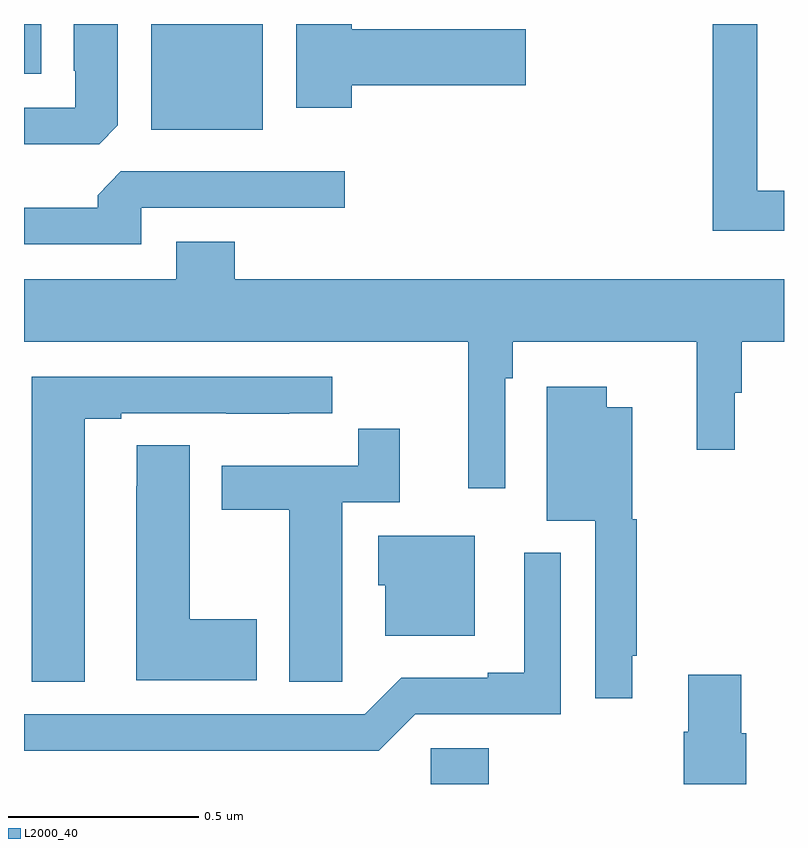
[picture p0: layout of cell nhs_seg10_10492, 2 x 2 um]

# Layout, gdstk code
import gdstk
lib = gdstk.Library(unit=1e-6, precision=1e-09)
def R(c, l, rs):  # rectangles x0, y0, x1, y1
    for r in rs: c.add(gdstk.rectangle(r[:2], r[2:], *l))
def P(c, l, *ps):  # polygons
    for p in ps: c.add(gdstk.Polygon(p, *l))
L2000_40 = (2000, 40)

nhs_seg10_10492 = lib.new_cell('nhs_seg10_10492')
R(nhs_seg10_10492, L2000_40, [(244.071,1284.5,244.223,1284.594), (243.335,1286.222,243.628,1286.5), (243,1286.369,243.046,1286.5)])
P(nhs_seg10_10492, L2000_40, [(243.247,1286.233),(243.247,1286.5),(243.131,1286.5),(243.131,1286.377),(243.135,1286.377),(243.135,1286.28),(243,1286.28),(243,1286.184),(243.198,1286.184)],
  [(245,1286.061),(244.929,1286.061),(244.929,1286.5),(244.813,1286.5),(244.813,1285.956),(245,1285.956)],
  [(243.863,1286.339),(244.321,1286.339),(244.321,1286.486),(243.863,1286.486),(243.863,1286.5),(243.716,1286.5),(243.716,1286.28),(243.863,1286.28)],
  [(243.309,1286.016),(243.844,1286.016),(243.844,1286.112),(243.255,1286.112),(243.194,1286.05),(243.194,1286.016),(243,1286.016),(243,1285.92),(243.309,1285.92)],
  [(244.266,1285.568),(244.286,1285.568),(244.286,1285.664),(244.771,1285.664),(244.771,1285.38),(244.87,1285.38),(244.87,1285.53),(244.889,1285.53),(244.889,1285.664),(245,1285.664),(245,1285.828),(243.554,1285.828),(243.554,1285.927),(243.401,1285.927),(243.401,1285.828),(243,1285.828),(243,1285.664),(244.169,1285.664),(244.169,1285.278),(244.266,1285.278)],
  [(243.16,1285.461),(243.256,1285.461),(243.256,1285.476),(243.532,1285.476),(243.532,1285.475),(243.698,1285.475),(243.698,1285.476),(243.811,1285.476),(243.811,1285.572),(243.02,1285.572),(243.02,1284.769),(243.16,1284.769)],
  [(244.6,1284.838),(244.612,1284.838),(244.612,1285.197),(244.6,1285.197),(244.6,1285.492),(244.534,1285.492),(244.534,1285.546),(244.376,1285.546),(244.376,1285.193),(244.503,1285.193),(244.503,1284.726),(244.6,1284.726)],
  [(243.837,1284.88),(243.838,1284.88),(243.838,1285.242),(243.989,1285.242),(243.989,1285.435),(243.88,1285.435),(243.88,1285.338),(243.521,1285.338),(243.521,1285.222),(243.698,1285.222),(243.698,1284.769),(243.837,1284.769)],
  [(243.613,1284.933),(243.436,1284.933),(243.436,1285.391),(243.297,1285.391),(243.297,1285.283),(243.296,1285.283),(243.296,1284.773),(243.613,1284.773)],
  [(244.186,1285.153),(243.932,1285.153),(243.932,1285.023),(243.95,1285.023),(243.95,1284.89),(244.186,1284.89)],
  [(244.029,1284.684),(244.413,1284.684),(244.413,1285.108),(244.316,1285.108),(244.316,1284.793),(244.22,1284.793),(244.22,1284.78),(243.993,1284.78),(243.897,1284.684),(243,1284.684),(243,1284.588),(243.933,1284.588)],
  [(244.901,1284.633),(244.888,1284.633),(244.888,1284.787),(244.748,1284.787),(244.748,1284.638),(244.736,1284.638),(244.736,1284.5),(244.901,1284.5)])

lib.write_gds('nhs_seg10_10492.gds')
